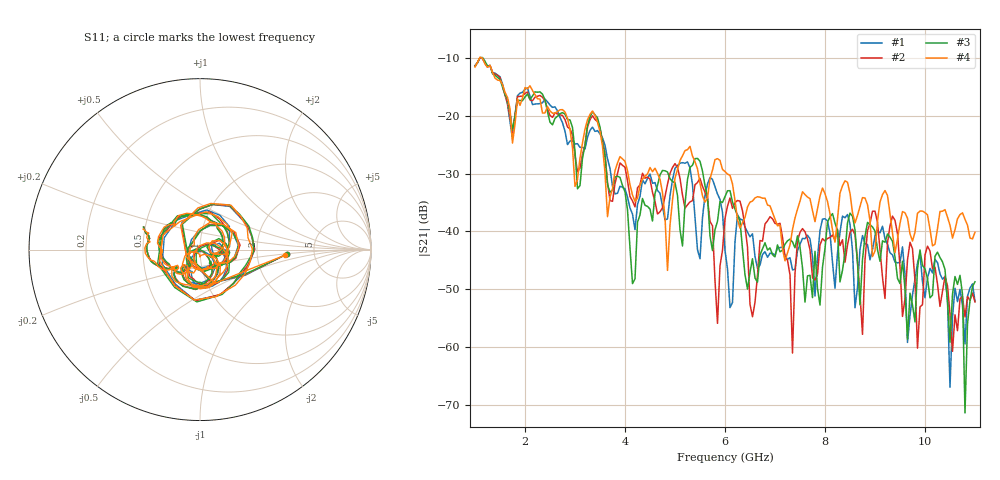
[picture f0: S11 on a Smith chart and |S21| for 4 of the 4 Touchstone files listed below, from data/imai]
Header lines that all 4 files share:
! MS46122B
! 1728301/71650013
! CHANNEL.1
! TR.MEASUREMENT
! CORRECTED.DATA
# GHZ S RI R 50.0
! FREQ.GHZ  S11RE  S11IM  S21RE  S21IM  S12RE  S12IM  S22RE  S22IM
!; PortSelection: Port_12
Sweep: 1 GHz to 11 GHz
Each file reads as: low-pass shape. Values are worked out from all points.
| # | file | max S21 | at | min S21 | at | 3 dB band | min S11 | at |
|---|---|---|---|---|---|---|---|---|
| 1 | DataFile#1_1cm.s2p | -9.97 dB | 1.1 GHz | -67.0 dB | 10.5 GHz | 1 GHz-1.45 GHz | -37.2 dB | 5.7 GHz |
| 2 | DataFile#1_2cm.s2p | -9.92 dB | 1.1 GHz | -61.0 dB | 7.35 GHz | 1 GHz-1.4 GHz | -35.0 dB | 5.65 GHz |
| 3 | DataFile#1_3cm.s2p | -9.93 dB | 1.15 GHz | -71.4 dB | 10.8 GHz | 1 GHz-1.35 GHz | -41.2 dB | 4.5 GHz |
| 4 | DataFile#1_uncovered.s2p | -9.89 dB | 1.1 GHz | -46.7 dB | 4.85 GHz | 1 GHz-1.35 GHz | -33.3 dB | 4.5 GHz |
